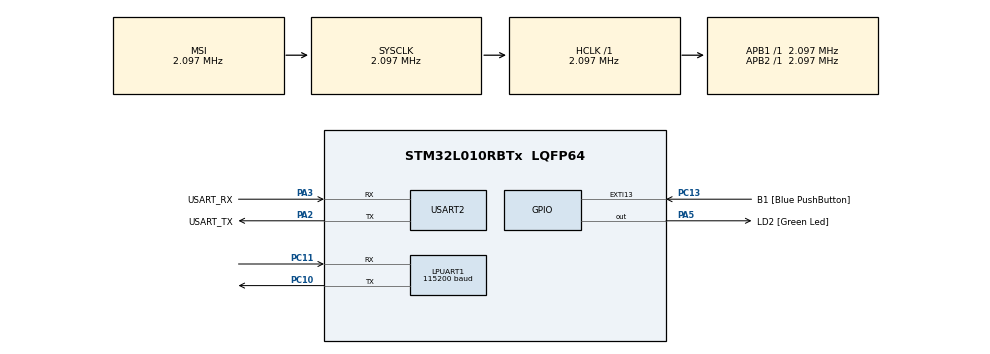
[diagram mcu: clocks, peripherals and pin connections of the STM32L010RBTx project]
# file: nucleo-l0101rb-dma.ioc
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Dma.LPUART1_RX.1.Direction=DMA_PERIPH_TO_MEMORY
Dma.LPUART1_RX.1.Instance=DMA1_Channel3
Dma.LPUART1_RX.1.MemDataAlignment=DMA_MDATAALIGN_BYTE
Dma.LPUART1_RX.1.MemInc=DMA_MINC_ENABLE
Dma.LPUART1_RX.1.Mode=DMA_NORMAL
Dma.LPUART1_RX.1.PeriphDataAlignment=DMA_PDATAALIGN_BYTE
Dma.LPUART1_RX.1.PeriphInc=DMA_PINC_DISABLE
Dma.LPUART1_RX.1.Priority=DMA_PRIORITY_LOW
Dma.LPUART1_TX.0.Direction=DMA_MEMORY_TO_PERIPH
Dma.LPUART1_TX.0.Instance=DMA1_Channel2
Dma.LPUART1_TX.0.MemDataAlignment=DMA_MDATAALIGN_BYTE
Dma.LPUART1_TX.0.MemInc=DMA_MINC_ENABLE
Dma.LPUART1_TX.0.Mode=DMA_NORMAL
Dma.LPUART1_TX.0.PeriphDataAlignment=DMA_PDATAALIGN_BYTE
Dma.LPUART1_TX.0.PeriphInc=DMA_PINC_DISABLE
Dma.LPUART1_TX.0.Priority=DMA_PRIORITY_LOW
Dma.Request0=LPUART1_TX
Dma.Request1=LPUART1_RX
LPUART1.BaudRate=115200
LPUART1.WordLength=UART_WORDLENGTH_8B
Mcu.Family=STM32L0
Mcu.Name=STM32L010RBTx
Mcu.Package=LQFP64
NVIC.DMA1_Channel2_3_IRQn=true\:0\:0\:false\:false\:true\:false\:true\:true
NVIC.LPUART1_IRQn=true\:0\:0\:false\:false\:true\:true\:true\:true
PA13.GPIO_Label=TMS
PA13.Mode=Serial_Wire
PA13.Signal=SYS_SWDIO
PA14.GPIO_Label=TCK
PA14.Mode=Serial_Wire
PA14.Signal=SYS_SWCLK
PA2.GPIO_Label=USART_TX
PA2.Mode=Asynchronous
PA2.Signal=USART2_TX
PA3.GPIO_Label=USART_RX
PA3.Mode=Asynchronous
PA3.Signal=USART2_RX
PA5.GPIO_Label=LD2 [Green Led]
PA5.Signal=GPIO_Output
PC10.Mode=Asynchronous
PC10.Signal=LPUART1_TX
PC11.Mode=Asynchronous
PC11.Signal=LPUART1_RX
PC13.GPIO_Label=B1 [Blue PushButton]
PC13.GPIO_ModeDefaultEXTI=GPIO_MODE_IT_FALLING
PC13.Signal=GPXTI13
PC14-OSC32_IN.Mode=LSE-External-Oscillator
PC14-OSC32_IN.Signal=RCC_OSC32_IN
PC15-OSC32_OUT.Mode=LSE-External-Oscillator
PC15-OSC32_OUT.Signal=RCC_OSC32_OUT
PH0-OSC_IN.GPIO_Label=MCO
PH0-OSC_IN.Mode=HSE-External-Clock-Source
PH0-OSC_IN.Signal=RCC_OSC_IN
ProjectManager.HeapSize=0x200
ProjectManager.StackSize=0x400
ProjectManager.TargetToolchain=STM32CubeIDE
RCC.AHBFreq_Value=2097000
RCC.APB1Freq_Value=2097000
RCC.APB1TimFreq_Value=2097000
RCC.APB2Freq_Value=2097000
RCC.APB2TimFreq_Value=2097000
RCC.HSE_VALUE=8000000
RCC.HSI16_VALUE=16000000
RCC.HSI48_VALUE=48000000
RCC.HSI_VALUE=16000000
RCC.MSI_VALUE=2097000
RCC.SYSCLKFreq_VALUE=2097000
RCC.VCOOutputFreq_Value=48000000
USART2.VirtualMode-Asynchronous=VM_ASYNC
board=NUCLEO-L010RB

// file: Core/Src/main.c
/* USER CODE BEGIN Header */
/**

  * @file           : main.c
  * @brief          : Main program body

  * @attention
  *
  * Copyright (c) 2026 STMicroelectronics.
  * All rights reserved.
  *
  * This software is licensed under terms that can be found in the LICENSE file
  * in the root directory of this software component.
  * If no LICENSE file comes with this software, it is provided AS-IS.
  *

  */
/* USER CODE END Header */
#include "main.h"

/* USER CODE BEGIN Includes */
#include "stdio.h"
#include "string.h"
/* USER CODE END Includes */

UART_HandleTypeDef hlpuart1;
UART_HandleTypeDef huart2;
DMA_HandleTypeDef hdma_lpuart1_tx;
DMA_HandleTypeDef hdma_lpuart1_rx;

/* USER CODE BEGIN PV */
#define RX_BUFFER_SIZE 64
char rxBuffer[RX_BUFFER_SIZE];   // DMA RX buffer
char txBuffer[128];              // DMA TX buffer

char dmaMsg[] = "Hello from LPUART1 DMA!\r\n";

/* USER CODE END PV */

void SystemClock_Config(void);
static void MX_GPIO_Init(void);
static void MX_DMA_Init(void);
static void MX_USART2_UART_Init(void);
static void MX_LPUART1_UART_Init(void);

/* USER CODE BEGIN 0 */
int __io_putchar(int ch) {
    HAL_UART_Transmit(&huart2, (uint8_t *)&ch, 1, HAL_MAX_DELAY); // debug on USART2
    return ch;
}

/* USER CODE END 0 */

int main(void)
{

  /* MCU Configuration--------------------------------------------------------*/

  /* Reset of all peripherals, Initializes the Flash interface and the Systick. */
  HAL_Init();

  /* Configure the system clock */
  SystemClock_Config();

  /* Initialize all configured peripherals */
  MX_GPIO_Init();
  MX_DMA_Init();
  MX_USART2_UART_Init();
  MX_LPUART1_UART_Init();
  /* USER CODE BEGIN 2 */
  HAL_UART_Receive_DMA(&hlpuart1, (uint8_t *)rxBuffer, RX_BUFFER_SIZE);

  /* USER CODE END 2 */

  /* Infinite loop */
  while (1)
  {

    /* USER CODE BEGIN 3 */

	  static uint32_t lastTick = 0;
	     if (HAL_GetTick() - lastTick >= 1000)
	     {
	         lastTick = HAL_GetTick();
	         printf("Tick: %lu\r\n", lastTick); // debug ticks on USART2
	     }

  }
  /* USER CODE END 3 */
}

void SystemClock_Config(void)
{
  RCC_OscInitTypeDef RCC_OscInitStruct = {0};
  RCC_ClkInitTypeDef RCC_ClkInitStruct = {0};
  RCC_PeriphCLKInitTypeDef PeriphClkInit = {0};

  /** Configure the main internal regulator output voltage
  */
  __HAL_PWR_VOLTAGESCALING_CONFIG(PWR_REGULATOR_VOLTAGE_SCALE1);

  /** Initializes the RCC Oscillators according to the specified parameters
  * in the RCC_OscInitTypeDef structure.
  */
  RCC_OscInitStruct.OscillatorType = RCC_OSCILLATORTYPE_MSI;
  RCC_OscInitStruct.MSIState = RCC_MSI_ON;
  RCC_OscInitStruct.MSICalibrationValue = 0;
  RCC_OscInitStruct.MSIClockRange = RCC_MSIRANGE_5;
  RCC_OscInitStruct.PLL.PLLState = RCC_PLL_NONE;
  if (HAL_RCC_OscConfig(&RCC_OscInitStruct) != HAL_OK)
  {
    Error_Handler();
  }

  /** Initializes the CPU, AHB and APB buses clocks
  */
  RCC_ClkInitStruct.ClockType = RCC_CLOCKTYPE_HCLK|RCC_CLOCKTYPE_SYSCLK
                              |RCC_CLOCKTYPE_PCLK1|RCC_CLOCKTYPE_PCLK2;
  RCC_ClkInitStruct.SYSCLKSource = RCC_SYSCLKSOURCE_MSI;
  RCC_ClkInitStruct.AHBCLKDivider = RCC_SYSCLK_DIV1;
  RCC_ClkInitStruct.APB1CLKDivider = RCC_HCLK_DIV1;
  RCC_ClkInitStruct.APB2CLKDivider = RCC_HCLK_DIV1;

  if (HAL_RCC_ClockConfig(&RCC_ClkInitStruct, FLASH_LATENCY_0) != HAL_OK)
  {
    Error_Handler();
  }
  PeriphClkInit.PeriphClockSelection = RCC_PERIPHCLK_USART2|RCC_PERIPHCLK_LPUART1;
  PeriphClkInit.Usart2ClockSelection = RCC_USART2CLKSOURCE_PCLK1;
  PeriphClkInit.Lpuart1ClockSelection = RCC_LPUART1CLKSOURCE_PCLK1;
  if (HAL_RCCEx_PeriphCLKConfig(&PeriphClkInit) != HAL_OK)
  {
    Error_Handler();
  }
}

static void MX_LPUART1_UART_Init(void)
{

  hlpuart1.Instance = LPUART1;
  hlpuart1.Init.BaudRate = 115200;
  hlpuart1.Init.WordLength = UART_WORDLENGTH_8B;
  hlpuart1.Init.StopBits = UART_STOPBITS_1;
  hlpuart1.Init.Parity = UART_PARITY_NONE;
  hlpuart1.Init.Mode = UART_MODE_TX_RX;
  hlpuart1.Init.HwFlowCtl = UART_HWCONTROL_NONE;
  hlpuart1.Init.OneBitSampling = UART_ONE_BIT_SAMPLE_DISABLE;
  hlpuart1.AdvancedInit.AdvFeatureInit = UART_ADVFEATURE_NO_INIT;
  if (HAL_UART_Init(&hlpuart1) != HAL_OK)
  {
    Error_Handler();
  }

}

static void MX_USART2_UART_Init(void)
{

  huart2.Instance = USART2;
  huart2.Init.BaudRate = 115200;
  huart2.Init.WordLength = UART_WORDLENGTH_8B;
  huart2.Init.StopBits = UART_STOPBITS_1;
  huart2.Init.Parity = UART_PARITY_NONE;
  huart2.Init.Mode = UART_MODE_TX_RX;
  huart2.Init.HwFlowCtl = UART_HWCONTROL_NONE;
  huart2.Init.OverSampling = UART_OVERSAMPLING_16;
  huart2.Init.OneBitSampling = UART_ONE_BIT_SAMPLE_DISABLE;
  huart2.AdvancedInit.AdvFeatureInit = UART_ADVFEATURE_NO_INIT;
  if (HAL_UART_Init(&huart2) != HAL_OK)
  {
    Error_Handler();
  }

}

static void MX_DMA_Init(void)
{

  /* DMA controller clock enable */
  __HAL_RCC_DMA1_CLK_ENABLE();

  /* DMA interrupt init */
  /* DMA1_Channel2_3_IRQn interrupt configuration */
  HAL_NVIC_SetPriority(DMA1_Channel2_3_IRQn, 0, 0);
  HAL_NVIC_EnableIRQ(DMA1_Channel2_3_IRQn);

}

static void MX_GPIO_Init(void)
{
  GPIO_InitTypeDef GPIO_InitStruct = {0};

  /* GPIO Ports Clock Enable */
  __HAL_RCC_GPIOC_CLK_ENABLE();
  __HAL_RCC_GPIOH_CLK_ENABLE();
  __HAL_RCC_GPIOA_CLK_ENABLE();

  /*Configure GPIO pin Output Level */
  HAL_GPIO_WritePin(LD2_GPIO_Port, LD2_Pin, GPIO_PIN_RESET);

  /*Configure GPIO pin : B1_Pin */
  GPIO_InitStruct.Pin = B1_Pin;
  GPIO_InitStruct.Mode = GPIO_MODE_IT_FALLING;
  GPIO_InitStruct.Pull = GPIO_NOPULL;
  HAL_GPIO_Init(B1_GPIO_Port, &GPIO_InitStruct);

  /*Configure GPIO pin : LD2_Pin */
  GPIO_InitStruct.Pin = LD2_Pin;
  GPIO_InitStruct.Mode = GPIO_MODE_OUTPUT_PP;
  GPIO_InitStruct.Pull = GPIO_NOPULL;
  GPIO_InitStruct.Speed = GPIO_SPEED_FREQ_LOW;
  HAL_GPIO_Init(LD2_GPIO_Port, &GPIO_InitStruct);

}

/* USER CODE BEGIN 4 */
void HAL_UART_RxCpltCallback(UART_HandleTypeDef *huart)
{
    if (huart->Instance == LPUART1)
    {
        snprintf(txBuffer, sizeof(txBuffer), "Message received: %s\r\n", rxBuffer);
        HAL_UART_Transmit_DMA(&hlpuart1, (uint8_t *)txBuffer, strlen(txBuffer));

        // Restart DMA reception
        HAL_UART_Receive_DMA(&hlpuart1, (uint8_t *)rxBuffer, RX_BUFFER_SIZE);
    }
}
/* USER CODE END 4 */

void Error_Handler(void)
{
  __disable_irq();
  while (1)
  {
  }
}
